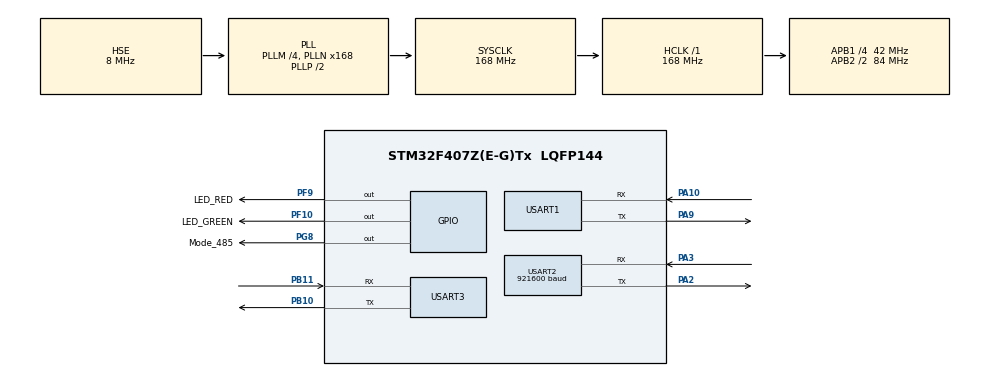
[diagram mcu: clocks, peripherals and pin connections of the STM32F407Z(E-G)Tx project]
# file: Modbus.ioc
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Dma.Request0=USART2_RX
Dma.Request1=USART2_TX
Dma.USART2_RX.0.Direction=DMA_PERIPH_TO_MEMORY
Dma.USART2_RX.0.FIFOMode=DMA_FIFOMODE_ENABLE
Dma.USART2_RX.0.FIFOThreshold=DMA_FIFO_THRESHOLD_FULL
Dma.USART2_RX.0.Instance=DMA1_Stream5
Dma.USART2_RX.0.MemBurst=DMA_MBURST_SINGLE
Dma.USART2_RX.0.MemDataAlignment=DMA_MDATAALIGN_BYTE
Dma.USART2_RX.0.MemInc=DMA_MINC_ENABLE
Dma.USART2_RX.0.Mode=DMA_NORMAL
Dma.USART2_RX.0.PeriphBurst=DMA_PBURST_SINGLE
Dma.USART2_RX.0.PeriphDataAlignment=DMA_PDATAALIGN_BYTE
Dma.USART2_RX.0.PeriphInc=DMA_PINC_DISABLE
Dma.USART2_RX.0.Priority=DMA_PRIORITY_LOW
Dma.USART2_TX.1.Direction=DMA_MEMORY_TO_PERIPH
Dma.USART2_TX.1.FIFOMode=DMA_FIFOMODE_ENABLE
Dma.USART2_TX.1.FIFOThreshold=DMA_FIFO_THRESHOLD_FULL
Dma.USART2_TX.1.Instance=DMA1_Stream6
Dma.USART2_TX.1.MemBurst=DMA_MBURST_SINGLE
Dma.USART2_TX.1.MemDataAlignment=DMA_MDATAALIGN_BYTE
Dma.USART2_TX.1.MemInc=DMA_MINC_ENABLE
Dma.USART2_TX.1.Mode=DMA_NORMAL
Dma.USART2_TX.1.PeriphBurst=DMA_PBURST_SINGLE
Dma.USART2_TX.1.PeriphDataAlignment=DMA_PDATAALIGN_BYTE
Dma.USART2_TX.1.PeriphInc=DMA_PINC_DISABLE
Dma.USART2_TX.1.Priority=DMA_PRIORITY_LOW
FREERTOS.Tasks01=Hello,24,128,start_hello,Default,NULL,Dynamic,NULL,NULL;BlinkLed,24,128,start_blink,Default,NULL,Dynamic,NULL,NULL;MasterTask,24,128,start_master_task,Default,NULL,Dynamic,NULL,NULL;SlaveTask,24,128,start_slave_task,Default,NULL,Dynamic,NULL,NULL;SysTask,24,128,start_sys_task,Default,NULL,Dynamic,NULL,NULL
FREERTOS.configTIMER_TASK_PRIORITY=48
FREERTOS.configUSE_NEWLIB_REENTRANT=0
Mcu.Family=STM32F4
Mcu.Name=STM32F407Z(E-G)Tx
Mcu.Package=LQFP144
NVIC.DMA1_Stream5_IRQn=true\:5\:0\:false\:false\:true\:true\:false\:true\:true
NVIC.DMA1_Stream6_IRQn=true\:5\:0\:false\:false\:true\:true\:false\:false\:true
NVIC.PriorityGroup=NVIC_PRIORITYGROUP_4
NVIC.TIM6_DAC_IRQn=true\:15\:0\:false\:false\:true\:false\:false\:true\:true
NVIC.TimeBase=TIM6_DAC_IRQn
NVIC.TimeBaseIP=TIM6
NVIC.USART1_IRQn=true\:5\:0\:false\:false\:false\:true\:true\:true\:true
NVIC.USART2_IRQn=true\:5\:0\:false\:false\:true\:true\:true\:false\:true
NVIC.USART3_IRQn=true\:5\:0\:false\:false\:true\:true\:true\:false\:true
PA10.Mode=Asynchronous
PA10.Signal=USART1_RX
PA2.Mode=Asynchronous
PA2.Signal=USART2_TX
PA3.Mode=Asynchronous
PA3.Signal=USART2_RX
PA9.Mode=Asynchronous
PA9.Signal=USART1_TX
PB10.Mode=Asynchronous
PB10.Signal=USART3_TX
PB11.Mode=Asynchronous
PB11.Signal=USART3_RX
PC14-OSC32_IN.Mode=LSE-External-Oscillator
PC14-OSC32_IN.Signal=RCC_OSC32_IN
PC15-OSC32_OUT.Mode=LSE-External-Oscillator
PC15-OSC32_OUT.Signal=RCC_OSC32_OUT
PF10.GPIO_Label=LED_GREEN
PF10.Signal=GPIO_Output
PF9.GPIO_Label=LED_RED
PF9.Signal=GPIO_Output
PG8.GPIO_Label=Mode_485
PG8.Signal=GPIO_Output
PH0-OSC_IN.Mode=HSE-External-Oscillator
PH0-OSC_IN.Signal=RCC_OSC_IN
PH1-OSC_OUT.Mode=HSE-External-Oscillator
PH1-OSC_OUT.Signal=RCC_OSC_OUT
ProjectManager.HeapSize=0x200
ProjectManager.StackSize=0x400
ProjectManager.TargetToolchain=MDK-ARM V5.32
RCC.48MHZClocksFreq_Value=84000000
RCC.AHBFreq_Value=168000000
RCC.APB1CLKDivider=RCC_HCLK_DIV4
RCC.APB1Freq_Value=42000000
RCC.APB1TimFreq_Value=84000000
RCC.APB2CLKDivider=RCC_HCLK_DIV2
RCC.APB2Freq_Value=84000000
RCC.APB2TimFreq_Value=168000000
RCC.CortexFreq_Value=168000000
RCC.EnbaleCSS=true
RCC.HCLKFreq_Value=168000000
RCC.HSE_VALUE=8000000
RCC.HSI_VALUE=16000000
RCC.PLLM=4
RCC.PLLN=168
RCC.PLLSourceVirtual=RCC_PLLSOURCE_HSE
RCC.SYSCLKFreq_VALUE=168000000
RCC.SYSCLKSource=RCC_SYSCLKSOURCE_PLLCLK
RCC.VCOOutputFreq_Value=336000000
USART1.VirtualMode=VM_ASYNC
USART2.BaudRate=921600
USART2.VirtualMode=VM_ASYNC
USART3.VirtualMode=VM_ASYNC
VP_FREERTOS_VS_CMSIS_V2.Mode=CMSIS_V2
VP_SYS_VS_tim6.Mode=TIM6
VP_TIM7_VS_ClockSourceINT.Mode=Enable_Timer
board=custom

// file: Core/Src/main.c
/* USER CODE BEGIN Header */
/**
  ******************************************************************************
  * @file           : main.c
  * @brief          : Main program body
  ******************************************************************************
  * @attention
  *
  * Copyright (c) 2022 STMicroelectronics.
  * All rights reserved.
  *
  * This software is licensed under terms that can be found in the LICENSE file
  * in the root directory of this software component.
  * If no LICENSE file comes with this software, it is provided AS-IS.
  *
  ******************************************************************************
  */
/* USER CODE END Header */
#include "main.h"
#include "cmsis_os.h"
#include "dma.h"
#include "tim.h"
#include "usart.h"
#include "gpio.h"

/* USER CODE BEGIN Includes */
#include <stdio.h>
#include "uart.h"
#include "mb.h"
/* USER CODE END Includes */

void SystemClock_Config(void);
void MX_FREERTOS_Init(void);

int main(void)
{

  /* MCU Configuration--------------------------------------------------------*/

  /* Reset of all peripherals, Initializes the Flash interface and the Systick. */
  HAL_Init();

  /* Configure the system clock */
  SystemClock_Config();

  /* Initialize all configured peripherals */
  MX_GPIO_Init();
  MX_DMA_Init();
  MX_USART1_UART_Init();
  MX_USART2_UART_Init();
  MX_USART3_UART_Init();
  MX_TIM7_Init();

  /* Init scheduler */
  osKernelInitialize();  /* Call init function for freertos objects (in freertos.c) */
  MX_FREERTOS_Init();

  /* Start scheduler */
  osKernelStart();

  /* We should never get here as control is now taken by the scheduler */
  /* Infinite loop */
  while (1)
  {

  }
}

void SystemClock_Config(void)
{
  RCC_OscInitTypeDef RCC_OscInitStruct = {0};
  RCC_ClkInitTypeDef RCC_ClkInitStruct = {0};

  /** Configure the main internal regulator output voltage
  */
  __HAL_RCC_PWR_CLK_ENABLE();
  __HAL_PWR_VOLTAGESCALING_CONFIG(PWR_REGULATOR_VOLTAGE_SCALE1);

  /** Initializes the RCC Oscillators according to the specified parameters
  * in the RCC_OscInitTypeDef structure.
  */
  RCC_OscInitStruct.OscillatorType = RCC_OSCILLATORTYPE_HSE;
  RCC_OscInitStruct.HSEState = RCC_HSE_ON;
  RCC_OscInitStruct.PLL.PLLState = RCC_PLL_ON;
  RCC_OscInitStruct.PLL.PLLSource = RCC_PLLSOURCE_HSE;
  RCC_OscInitStruct.PLL.PLLM = 4;
  RCC_OscInitStruct.PLL.PLLN = 168;
  RCC_OscInitStruct.PLL.PLLP = RCC_PLLP_DIV2;
  RCC_OscInitStruct.PLL.PLLQ = 4;
  if (HAL_RCC_OscConfig(&RCC_OscInitStruct) != HAL_OK)
  {
    Error_Handler();
  }

  /** Initializes the CPU, AHB and APB buses clocks
  */
  RCC_ClkInitStruct.ClockType = RCC_CLOCKTYPE_HCLK|RCC_CLOCKTYPE_SYSCLK
                              |RCC_CLOCKTYPE_PCLK1|RCC_CLOCKTYPE_PCLK2;
  RCC_ClkInitStruct.SYSCLKSource = RCC_SYSCLKSOURCE_PLLCLK;
  RCC_ClkInitStruct.AHBCLKDivider = RCC_SYSCLK_DIV1;
  RCC_ClkInitStruct.APB1CLKDivider = RCC_HCLK_DIV4;
  RCC_ClkInitStruct.APB2CLKDivider = RCC_HCLK_DIV2;

  if (HAL_RCC_ClockConfig(&RCC_ClkInitStruct, FLASH_LATENCY_5) != HAL_OK)
  {
    Error_Handler();
  }

  /** Enables the Clock Security System
  */
  HAL_RCC_EnableCSS();
}

void HAL_TIM_PeriodElapsedCallback(TIM_HandleTypeDef *htim)
{
  if (htim->Instance == TIM6) {
    HAL_IncTick();
  }
}

void Error_Handler(void)
{
  __disable_irq();
  while (1)
  {
  }
}

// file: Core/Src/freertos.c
/* USER CODE BEGIN Header */
/**
  ******************************************************************************
  * File Name          : freertos.c
  * Description        : Code for freertos applications
  ******************************************************************************
  * @attention
  *
  * Copyright (c) 2022 STMicroelectronics.
  * All rights reserved.
  *
  * This software is licensed under terms that can be found in the LICENSE file
  * in the root directory of this software component.
  * If no LICENSE file comes with this software, it is provided AS-IS.
  *
  ******************************************************************************
  */
/* USER CODE END Header */

#include "FreeRTOS.h"
#include "task.h"
#include "main.h"
#include "cmsis_os.h"

/* USER CODE BEGIN Includes */
#include "mb.h"
#include "uart.h"
#include "tim.h"
/* USER CODE END Includes */

/* Definitions for Hello */
osThreadId_t HelloHandle;
const osThreadAttr_t Hello_attributes = {
  .name = "Hello",
  .stack_size = 128 * 4,
  .priority = (osPriority_t) osPriorityNormal,
};
/* Definitions for BlinkLed */
osThreadId_t BlinkLedHandle;
const osThreadAttr_t BlinkLed_attributes = {
  .name = "BlinkLed",
  .stack_size = 128 * 4,
  .priority = (osPriority_t) osPriorityNormal,
};
/* Definitions for MasterTask */
osThreadId_t MasterTaskHandle;
const osThreadAttr_t MasterTask_attributes = {
  .name = "MasterTask",
  .stack_size = 128 * 4,
  .priority = (osPriority_t) osPriorityNormal,
};
/* Definitions for SlaveTask */
osThreadId_t SlaveTaskHandle;
const osThreadAttr_t SlaveTask_attributes = {
  .name = "SlaveTask",
  .stack_size = 128 * 4,
  .priority = (osPriority_t) osPriorityNormal,
};
/* Definitions for SysTask */
osThreadId_t SysTaskHandle;
const osThreadAttr_t SysTask_attributes = {
  .name = "SysTask",
  .stack_size = 128 * 4,
  .priority = (osPriority_t) osPriorityNormal,
};

void start_hello(void *argument);
void start_blink(void *argument);
void start_master_task(void *argument);
void start_slave_task(void *argument);
void start_sys_task(void *argument);

void MX_FREERTOS_Init(void); /* (MISRA C 2004 rule 8.1) */

void MX_FREERTOS_Init(void) {
  /* USER CODE BEGIN Init */
  HAL_TIM_Base_Start(&htim7);
  //eMBMasterInit(MB_RTU, 3, 115200, MB_PAR_NONE);
  //eMBMasterEnable();
  eMBInit(MB_RTU, 0x01, 2, 921600, MB_PAR_NONE);
  eMBEnable();
  //HelloHandle = osThreadNew(start_hello, NULL, &Hello_attributes);
  BlinkLedHandle = osThreadNew(start_blink, NULL, &BlinkLed_attributes);
  //SysTaskHandle = osThreadNew(start_sys_task, NULL, &SysTask_attributes);
  //MasterTaskHandle = osThreadNew(start_master_task, NULL, &MasterTask_attributes);
  SlaveTaskHandle = osThreadNew(start_slave_task, NULL, &SlaveTask_attributes);
  /* USER CODE END Init */
/* USER CODE BEGIN Header */
/**
  ******************************************************************************
  * File Name          : freertos.c
  * Description        : Code for freertos applications
  ******************************************************************************
  * @attention
  *
  * Copyright (c) 2022 STMicroelectronics.
  * All rights reserved.
  *
  * This software is licensed under terms that can be found in the LICENSE file
  * in the root directory of this software component.
  * If no LICENSE file comes with this software, it is provided AS-IS.
  *
  ******************************************************************************
  */
/* USER CODE END Header */

}

void start_hello(void *argument)
{
  /* USER CODE BEGIN start_hello */
  /* Infinite loop */
  for(;;)
  {
    printk("Hello\n");
    osDelay(1000);
  }
  /* USER CODE END start_hello */
}

void start_blink(void *argument)
{
  /* USER CODE BEGIN start_blink */
  /* Infinite loop */
  for(;;)
  {
    HAL_GPIO_TogglePin(LED_RED_GPIO_Port, LED_RED_Pin);
    osDelay(1000);
  }
  /* USER CODE END start_blink */
}

void start_master_task(void *argument)
{
  /* USER CODE BEGIN start_master_task */
  /* Infinite loop */
  for(;;)
  {
    eMBMasterPoll();
  }
  /* USER CODE END start_master_task */
}

void start_slave_task(void *argument)
{
  /* USER CODE BEGIN start_slave_task */
  /* Infinite loop */
  for(;;)
  {
    eMBPoll();
  }
  /* USER CODE END start_slave_task */
}

void start_sys_task(void *argument)
{
  /* USER CODE BEGIN start_sys_task */
  uint16_t data[10] = {1, 2, 3, 4, 5, 6, 7, 8, 9, 10};
  /* Infinite loop */
  for (;;)
  {
    //eMBMasterReqReadHoldingRegister(1, 0, 10, 100);
    eMBMasterReqWriteMultipleHoldingRegister(1, 0, 10, data, 100);
    HAL_GPIO_TogglePin(LED_GREEN_GPIO_Port, LED_GREEN_Pin);
    for(uint8_t i=0;i<sizeof(data)/sizeof(uint16_t);i++)
      data[i]++;
    osDelay(100);
  }
  /* USER CODE END start_sys_task */
}
